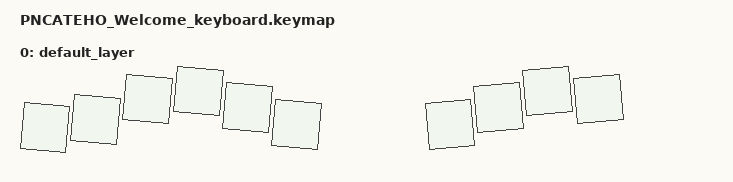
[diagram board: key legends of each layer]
/*
 * Copyright (c) 2020 The ZMK Contributors
 *
 * SPDX-License-Identifier: MIT
 */

#include <behaviors.dtsi>
#include <dt-bindings/zmk/keys.h>
#include <dt-bindings/zmk/outputs.h>
#include "PNCATEHO_Welcome_keyboard-keys.dtsi"

// CONFIG
#define COMBO_TIMEOUT 70
#define STICKY_TIMEOUT 500

#define COMBO_LAYER 0

&sk {
    release-after-ms = <STICKY_TIMEOUT>;
    quick-release;
};

/ {
  combos {
    compatible = "zmk,combos";

    combo_l_space {
        timeout-ms = <COMBO_TIMEOUT>;
        bindings = <&kp SPACE>;
        key-positions = <SIT>;
        layers = <COMBO_LAYER>;
    };

    combo_l_bspc {
        timeout-ms = <COMBO_TIMEOUT>;
        bindings = <&kp BSPC>;
        key-positions = <SOT>;
        layers = <COMBO_LAYER>;
    };
  };

  keymap {
    compatible = "zmk,keymap";

    default_layer {
      bindings = <
        &none &none &none &none
        &none &none &none &none
                          &none &none
      >;
    };
  };
};

